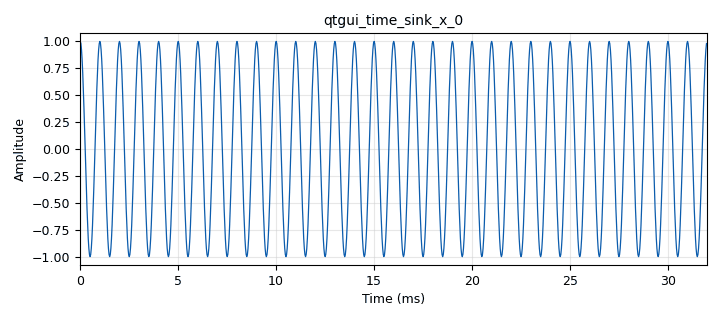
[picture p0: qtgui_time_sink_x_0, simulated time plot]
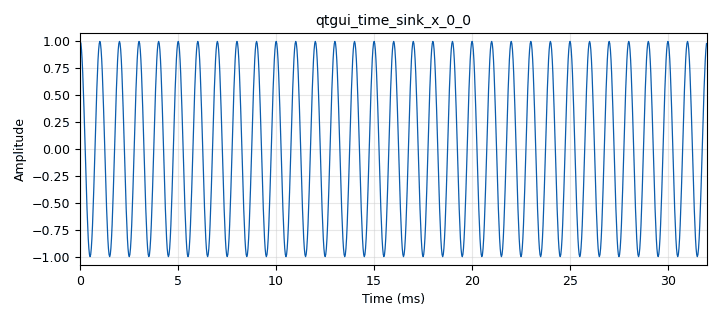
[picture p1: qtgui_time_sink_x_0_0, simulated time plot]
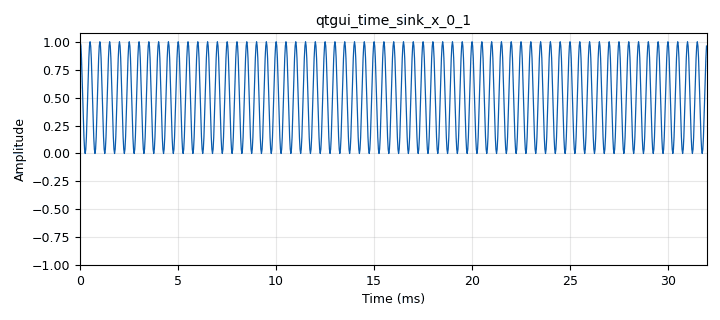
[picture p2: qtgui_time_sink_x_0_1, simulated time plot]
options:
  parameters:
    author: SUDARSHAN
    generate_options: qt_gui
    id: Sudarshan_practise_1
    output_language: python
    title: Not titled yet
  states: {}

blocks:
- name: samp_rate
  id: variable
  parameters:
    value: '32000'
  states: {}
- name: analog_sig_source_x_0
  id: analog_sig_source_x
  parameters:
    amp: '1'
    freq: '1000'
    offset: '0'
    phase: '0'
    samp_rate: samp_rate
    type: float
    waveform: analog.GR_COS_WAVE
  states: {}
- name: analog_sig_source_x_0_0
  id: analog_sig_source_x
  parameters:
    amp: '1'
    freq: '1000'
    offset: '0'
    phase: '0'
    samp_rate: samp_rate
    type: float
    waveform: analog.GR_COS_WAVE
  states: {}
- name: analog_sig_source_x_0_1
  id: analog_sig_source_x
  parameters:
    amp: '1'
    freq: '1000'
    offset: '0'
    phase: '0'
    samp_rate: samp_rate
    type: float
    waveform: analog.GR_COS_WAVE
  states: {}
- name: blocks_delay_0
  id: blocks_delay
  parameters:
    delay: '0'
    type: float
  states: {}
- name: blocks_multiply_xx_0
  id: blocks_multiply_xx
  parameters:
    type: float
  states: {}
- name: blocks_sub_xx_0
  id: blocks_sub_xx
  parameters:
    type: float
  states: {}
- name: blocks_sub_xx_0_0
  id: blocks_sub_xx
  parameters:
    type: float
  states: {}
- name: blocks_threshold_ff_0
  id: blocks_threshold_ff
  parameters:
    high: '100'
    init: '0'
    low: '-100'
  states: {}
- name: blocks_threshold_ff_1
  id: blocks_threshold_ff
  parameters:
    high: '100'
    init: '0'
    low: '-100'
  states: {}
- name: blocks_throttle2_0
  id: blocks_throttle2
  parameters:
    samples_per_second: samp_rate
    type: float
  states: {}
- name: qtgui_time_sink_x_0
  id: qtgui_time_sink_x
  parameters:
    size: '1024'
    srate: samp_rate
    type: float
  states: {}
- name: qtgui_time_sink_x_0_0
  id: qtgui_time_sink_x
  parameters:
    size: '1024'
    srate: samp_rate
    type: float
  states: {}
- name: qtgui_time_sink_x_0_1
  id: qtgui_time_sink_x
  parameters:
    size: '1024'
    srate: samp_rate
    type: float
  states: {}
- name: qtgui_time_sink_x_0_2
  id: qtgui_time_sink_x
  parameters:
    size: '1024'
    srate: samp_rate
    type: float
  states: {}
- name: qtgui_time_sink_x_0_3
  id: qtgui_time_sink_x
  parameters:
    nconnections: '2'
    size: '1024'
    srate: samp_rate
    type: float
  states: {}

connections:
- [analog_sig_source_x_0, '0', blocks_multiply_xx_0, '0']
- [analog_sig_source_x_0, '0', blocks_sub_xx_0, '0']
- [analog_sig_source_x_0, '0', qtgui_time_sink_x_0, '0']
- [analog_sig_source_x_0_0, '0', blocks_throttle2_0, '0']
- [analog_sig_source_x_0_1, '0', blocks_sub_xx_0, '1']
- [blocks_delay_0, '0', blocks_sub_xx_0_0, '1']
- [blocks_multiply_xx_0, '0', qtgui_time_sink_x_0_1, '0']
- [blocks_sub_xx_0, '0', blocks_threshold_ff_0, '0']
- [blocks_sub_xx_0_0, '0', blocks_threshold_ff_1, '0']
- [blocks_threshold_ff_0, '0', blocks_delay_0, '0']
- [blocks_threshold_ff_0, '0', blocks_sub_xx_0_0, '0']
- [blocks_threshold_ff_0, '0', qtgui_time_sink_x_0_2, '0']
- [blocks_threshold_ff_0, '0', qtgui_time_sink_x_0_3, '1']
- [blocks_threshold_ff_1, '0', qtgui_time_sink_x_0_3, '0']
- [blocks_throttle2_0, '0', blocks_multiply_xx_0, '1']
- [blocks_throttle2_0, '0', qtgui_time_sink_x_0_0, '0']

metadata:
  file_format: 1
  grc_version: 3.10.12.0
